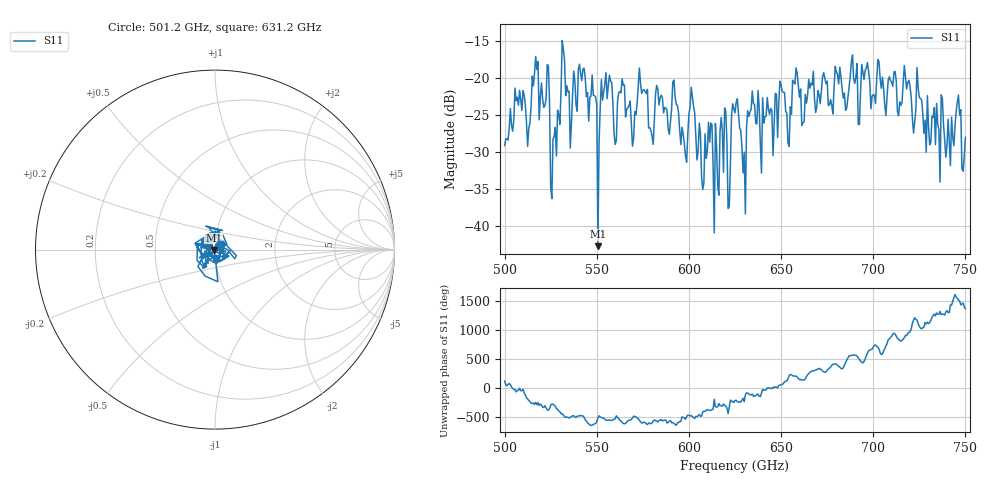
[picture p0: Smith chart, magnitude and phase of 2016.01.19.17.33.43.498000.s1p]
!Created with skrf (http://scikit-rf.org).
# GHz S RI R 50.0
!freq ReS11 ImS11
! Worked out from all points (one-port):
!   401 points, 500 GHz to 750 GHz, reference 50 ohm
!   lowest |S11| = -42.8 dB at 550.6 GHz (marker M1), VSWR 1.01, Z = 49.3 - j0.215 ohm
!   |S11| at or under -10 dB: start of sweep to end of sweep
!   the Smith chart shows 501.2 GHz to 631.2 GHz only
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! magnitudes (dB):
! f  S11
! 500 GHz  -29.1
! 506.9 GHz  -22.6
! 513.1 GHz  -26.8
! 516.9 GHz  -17.1
! 523.1 GHz  -18.2
! 526.2 GHz  -28.3
! 531.2 GHz  -14.9
! 535.6 GHz  -29.5
! 548.8 GHz  -22.4
! 550.6 GHz  -42.8
! 553.8 GHz  -22.0
! 560 GHz  -29.0
! 562.5 GHz  -21.8
! 593.8 GHz  -23.7
! 598.1 GHz  -30.5
! 601.9 GHz  -22.6
! 615 GHz  -29.3
! 618.8 GHz  -32.8
! 621.9 GHz  -37.5
! 625 GHz  -24.7
! 629.4 GHz  -32.9
! 634.4 GHz  -21.7
! 656.2 GHz  -20.3
! 687.5 GHz  -19.9
! 718.8 GHz  -20.6
! 740.6 GHz  -25.6
! 746.2 GHz  -22.3
! 750 GHz  -28.0
